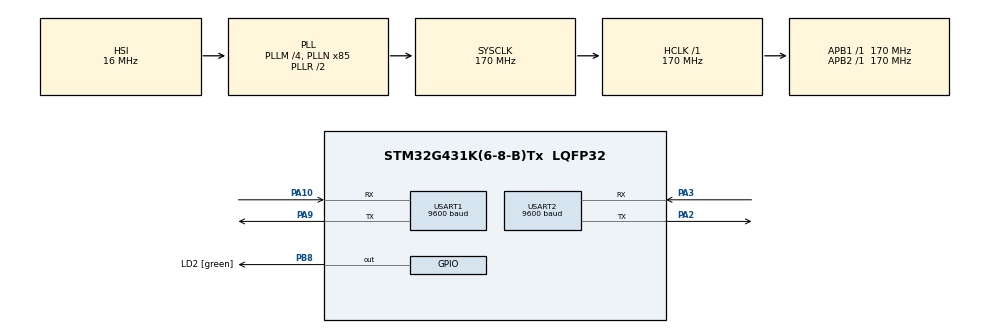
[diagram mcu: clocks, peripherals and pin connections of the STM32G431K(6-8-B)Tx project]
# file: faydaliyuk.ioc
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Dma.Request0=USART1_RX
Dma.USART1_RX.0.Direction=DMA_PERIPH_TO_MEMORY
Dma.USART1_RX.0.EventEnable=DISABLE
Dma.USART1_RX.0.Instance=DMA1_Channel1
Dma.USART1_RX.0.MemDataAlignment=DMA_MDATAALIGN_BYTE
Dma.USART1_RX.0.MemInc=DMA_MINC_ENABLE
Dma.USART1_RX.0.Mode=DMA_NORMAL
Dma.USART1_RX.0.PeriphDataAlignment=DMA_PDATAALIGN_BYTE
Dma.USART1_RX.0.PeriphInc=DMA_PINC_DISABLE
Dma.USART1_RX.0.Polarity=HAL_DMAMUX_REQ_GEN_RISING
Dma.USART1_RX.0.Priority=DMA_PRIORITY_LOW
Dma.USART1_RX.0.RequestNumber=1
Dma.USART1_RX.0.SignalID=NONE
Dma.USART1_RX.0.SyncEnable=DISABLE
Dma.USART1_RX.0.SyncPolarity=HAL_DMAMUX_SYNC_NO_EVENT
Dma.USART1_RX.0.SyncRequestNumber=1
Dma.USART1_RX.0.SyncSignalID=NONE
Mcu.Family=STM32G4
Mcu.Name=STM32G431K(6-8-B)Tx
Mcu.Package=LQFP32
NVIC.DMA1_Channel1_IRQn=true\:0\:0\:false\:false\:true\:false\:true
NVIC.PriorityGroup=NVIC_PRIORITYGROUP_4
NVIC.USART1_IRQn=true\:0\:0\:false\:false\:true\:true\:true
PA10.Mode=Asynchronous
PA10.Signal=USART1_RX
PA13.GPIO_Label=T_SWDIO
PA13.Mode=Serial_Wire
PA13.Signal=SYS_JTMS-SWDIO
PA14.GPIO_Label=T_SWCLK
PA14.Mode=Serial_Wire
PA14.Signal=SYS_JTCK-SWCLK
PA2.Mode=Asynchronous
PA2.Signal=USART2_TX
PA3.Mode=Asynchronous
PA3.Signal=USART2_RX
PA9.Mode=Asynchronous
PA9.Signal=USART1_TX
PB3.GPIO_Label=T_SWO
PB3.Signal=SYS_JTDO-SWO
PB8-BOOT0.GPIO_Label=LD2 [green]
PB8-BOOT0.Signal=GPIO_Output
ProjectManager.HeapSize=0x200
ProjectManager.StackSize=0x400
ProjectManager.TargetToolchain=STM32CubeIDE
RCC.ADC12Freq_Value=170000000
RCC.AHBFreq_Value=170000000
RCC.APB1Freq_Value=170000000
RCC.APB1TimFreq_Value=170000000
RCC.APB2Freq_Value=170000000
RCC.APB2TimFreq_Value=170000000
RCC.CortexFreq_Value=170000000
RCC.EXTERNAL_CLOCK_VALUE=12288000
RCC.HCLKFreq_Value=170000000
RCC.HSE_VALUE=8000000
RCC.HSI48_VALUE=48000000
RCC.HSI_VALUE=16000000
RCC.LSE_VALUE=32768
RCC.PLLM=RCC_PLLM_DIV4
RCC.PLLN=85
RCC.SYSCLKFreq_VALUE=170000000
RCC.SYSCLKSource=RCC_SYSCLKSOURCE_PLLCLK
RCC.USBFreq_Value=170000000
RCC.VCOOutputFreq_Value=340000000
USART1.BaudRate=9600
USART1.VirtualMode-Asynchronous=VM_ASYNC
USART2.BaudRate=9600
USART2.VirtualMode-Asynchronous=VM_ASYNC
VP_SYS_VS_DBSignals.Mode=DisableDeadBatterySignals
board=NUCLEO-G431KB

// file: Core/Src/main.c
/* USER CODE BEGIN Header */
/**
  ******************************************************************************
  * @file           : main.c
  * @brief          : Main program body
  ******************************************************************************
  * @attention
  *
  * <h2><center>&copy; Copyright (c) 2020 STMicroelectronics.
  * All rights reserved.</center></h2>
  *
  * This software component is licensed by ST under BSD 3-Clause license,
  * the "License"; You may not use this file except in compliance with the
  * License. You may obtain a copy of the License at:
  *                        opensource.org/licenses/BSD-3-Clause
  *
  ******************************************************************************
  */
/* USER CODE END Header */
#include "main.h"

/* USER CODE BEGIN Includes */
#include "Telemetry.h"
/* USER CODE END Includes */

UART_HandleTypeDef huart1;
UART_HandleTypeDef huart2;
DMA_HandleTypeDef hdma_usart1_rx;

/* USER CODE BEGIN PV */
sGPS_handle_t hGPS;

/* USER CODE END PV */

void SystemClock_Config(void);
static void MX_GPIO_Init(void);
static void MX_DMA_Init(void);
static void MX_USART1_UART_Init(void);
static void MX_USART2_UART_Init(void);

/* USER CODE BEGIN 0 */
int data_index = 0;
uint8_t package_find = 0;

void HAL_UART_RxCpltCallback(UART_HandleTypeDef *huart){
	  if(huart->Instance == USART1){
			if(hGPS.checkBuffer == 36){
				package_find = 1;
			}

		 if(hGPS.checkBuffer != 10 && package_find == 1){
			 hGPS.gpsBuffer[data_index] = hGPS.checkBuffer;
			 data_index++;
		 }else{
			 hGPS.gpsBuffer[data_index] = hGPS.checkBuffer;
			parseGPS(&hGPS);

			data_index = 0;
			package_find = 0;
		 }

		 HAL_UART_Receive_DMA(&huart1,&hGPS.checkBuffer,1);
		}

}
/* USER CODE END 0 */

int main(void)
{

  /* MCU Configuration--------------------------------------------------------*/

  /* Reset of all peripherals, Initializes the Flash interface and the Systick. */
  HAL_Init();

  /* Configure the system clock */
  SystemClock_Config();

  /* Initialize all configured peripherals */
  MX_GPIO_Init();
  MX_DMA_Init();
  MX_USART1_UART_Init();
  MX_USART2_UART_Init();
  /* USER CODE BEGIN 2 */
	 HAL_UART_Receive_DMA(&huart1,&hGPS.checkBuffer,1);
  /* USER CODE END 2 */

  /* Infinite loop */
  while (1)
  {
Telemetry_send_data(&hGPS);
HAL_Delay(3000);
  }
}

void SystemClock_Config(void)
{
  RCC_OscInitTypeDef RCC_OscInitStruct = {0};
  RCC_ClkInitTypeDef RCC_ClkInitStruct = {0};
  RCC_PeriphCLKInitTypeDef PeriphClkInit = {0};

  /** Configure the main internal regulator output voltage
  */
  HAL_PWREx_ControlVoltageScaling(PWR_REGULATOR_VOLTAGE_SCALE1_BOOST);
  /** Initializes the RCC Oscillators according to the specified parameters
  * in the RCC_OscInitTypeDef structure.
  */
  RCC_OscInitStruct.OscillatorType = RCC_OSCILLATORTYPE_HSI;
  RCC_OscInitStruct.HSIState = RCC_HSI_ON;
  RCC_OscInitStruct.HSICalibrationValue = RCC_HSICALIBRATION_DEFAULT;
  RCC_OscInitStruct.PLL.PLLState = RCC_PLL_ON;
  RCC_OscInitStruct.PLL.PLLSource = RCC_PLLSOURCE_HSI;
  RCC_OscInitStruct.PLL.PLLM = RCC_PLLM_DIV4;
  RCC_OscInitStruct.PLL.PLLN = 85;
  RCC_OscInitStruct.PLL.PLLP = RCC_PLLP_DIV2;
  RCC_OscInitStruct.PLL.PLLQ = RCC_PLLQ_DIV2;
  RCC_OscInitStruct.PLL.PLLR = RCC_PLLR_DIV2;
  if (HAL_RCC_OscConfig(&RCC_OscInitStruct) != HAL_OK)
  {
    Error_Handler();
  }
  /** Initializes the CPU, AHB and APB buses clocks
  */
  RCC_ClkInitStruct.ClockType = RCC_CLOCKTYPE_HCLK|RCC_CLOCKTYPE_SYSCLK
                              |RCC_CLOCKTYPE_PCLK1|RCC_CLOCKTYPE_PCLK2;
  RCC_ClkInitStruct.SYSCLKSource = RCC_SYSCLKSOURCE_PLLCLK;
  RCC_ClkInitStruct.AHBCLKDivider = RCC_SYSCLK_DIV1;
  RCC_ClkInitStruct.APB1CLKDivider = RCC_HCLK_DIV1;
  RCC_ClkInitStruct.APB2CLKDivider = RCC_HCLK_DIV1;

  if (HAL_RCC_ClockConfig(&RCC_ClkInitStruct, FLASH_LATENCY_4) != HAL_OK)
  {
    Error_Handler();
  }
  /** Initializes the peripherals clocks
  */
  PeriphClkInit.PeriphClockSelection = RCC_PERIPHCLK_USART1|RCC_PERIPHCLK_USART2;
  PeriphClkInit.Usart1ClockSelection = RCC_USART1CLKSOURCE_PCLK2;
  PeriphClkInit.Usart2ClockSelection = RCC_USART2CLKSOURCE_PCLK1;
  if (HAL_RCCEx_PeriphCLKConfig(&PeriphClkInit) != HAL_OK)
  {
    Error_Handler();
  }
}

static void MX_USART1_UART_Init(void)
{

  huart1.Instance = USART1;
  huart1.Init.BaudRate = 9600;
  huart1.Init.WordLength = UART_WORDLENGTH_8B;
  huart1.Init.StopBits = UART_STOPBITS_1;
  huart1.Init.Parity = UART_PARITY_NONE;
  huart1.Init.Mode = UART_MODE_TX_RX;
  huart1.Init.HwFlowCtl = UART_HWCONTROL_NONE;
  huart1.Init.OverSampling = UART_OVERSAMPLING_16;
  huart1.Init.OneBitSampling = UART_ONE_BIT_SAMPLE_DISABLE;
  huart1.Init.ClockPrescaler = UART_PRESCALER_DIV1;
  huart1.AdvancedInit.AdvFeatureInit = UART_ADVFEATURE_NO_INIT;
  if (HAL_UART_Init(&huart1) != HAL_OK)
  {
    Error_Handler();
  }
  if (HAL_UARTEx_SetTxFifoThreshold(&huart1, UART_TXFIFO_THRESHOLD_1_8) != HAL_OK)
  {
    Error_Handler();
  }
  if (HAL_UARTEx_SetRxFifoThreshold(&huart1, UART_RXFIFO_THRESHOLD_1_8) != HAL_OK)
  {
    Error_Handler();
  }
  if (HAL_UARTEx_DisableFifoMode(&huart1) != HAL_OK)
  {
    Error_Handler();
  }

}

static void MX_USART2_UART_Init(void)
{

  huart2.Instance = USART2;
  huart2.Init.BaudRate = 9600;
  huart2.Init.WordLength = UART_WORDLENGTH_8B;
  huart2.Init.StopBits = UART_STOPBITS_1;
  huart2.Init.Parity = UART_PARITY_NONE;
  huart2.Init.Mode = UART_MODE_TX_RX;
  huart2.Init.HwFlowCtl = UART_HWCONTROL_NONE;
  huart2.Init.OverSampling = UART_OVERSAMPLING_16;
  huart2.Init.OneBitSampling = UART_ONE_BIT_SAMPLE_DISABLE;
  huart2.Init.ClockPrescaler = UART_PRESCALER_DIV1;
  huart2.AdvancedInit.AdvFeatureInit = UART_ADVFEATURE_NO_INIT;
  if (HAL_UART_Init(&huart2) != HAL_OK)
  {
    Error_Handler();
  }
  if (HAL_UARTEx_SetTxFifoThreshold(&huart2, UART_TXFIFO_THRESHOLD_1_8) != HAL_OK)
  {
    Error_Handler();
  }
  if (HAL_UARTEx_SetRxFifoThreshold(&huart2, UART_RXFIFO_THRESHOLD_1_8) != HAL_OK)
  {
    Error_Handler();
  }
  if (HAL_UARTEx_DisableFifoMode(&huart2) != HAL_OK)
  {
    Error_Handler();
  }

}

static void MX_DMA_Init(void)
{

  /* DMA controller clock enable */
  __HAL_RCC_DMAMUX1_CLK_ENABLE();
  __HAL_RCC_DMA1_CLK_ENABLE();

  /* DMA interrupt init */
  /* DMA1_Channel1_IRQn interrupt configuration */
  HAL_NVIC_SetPriority(DMA1_Channel1_IRQn, 0, 0);
  HAL_NVIC_EnableIRQ(DMA1_Channel1_IRQn);

}

static void MX_GPIO_Init(void)
{
  GPIO_InitTypeDef GPIO_InitStruct = {0};

  /* GPIO Ports Clock Enable */
  __HAL_RCC_GPIOA_CLK_ENABLE();
  __HAL_RCC_GPIOB_CLK_ENABLE();

  /*Configure GPIO pin Output Level */
  HAL_GPIO_WritePin(LD2_GPIO_Port, LD2_Pin, GPIO_PIN_RESET);

  /*Configure GPIO pin : LD2_Pin */
  GPIO_InitStruct.Pin = LD2_Pin;
  GPIO_InitStruct.Mode = GPIO_MODE_OUTPUT_PP;
  GPIO_InitStruct.Pull = GPIO_NOPULL;
  GPIO_InitStruct.Speed = GPIO_SPEED_FREQ_LOW;
  HAL_GPIO_Init(LD2_GPIO_Port, &GPIO_InitStruct);

}

void Error_Handler(void)
{
}

/************************ (C) COPYRIGHT STMicroelectronics *****END OF FILE****/
